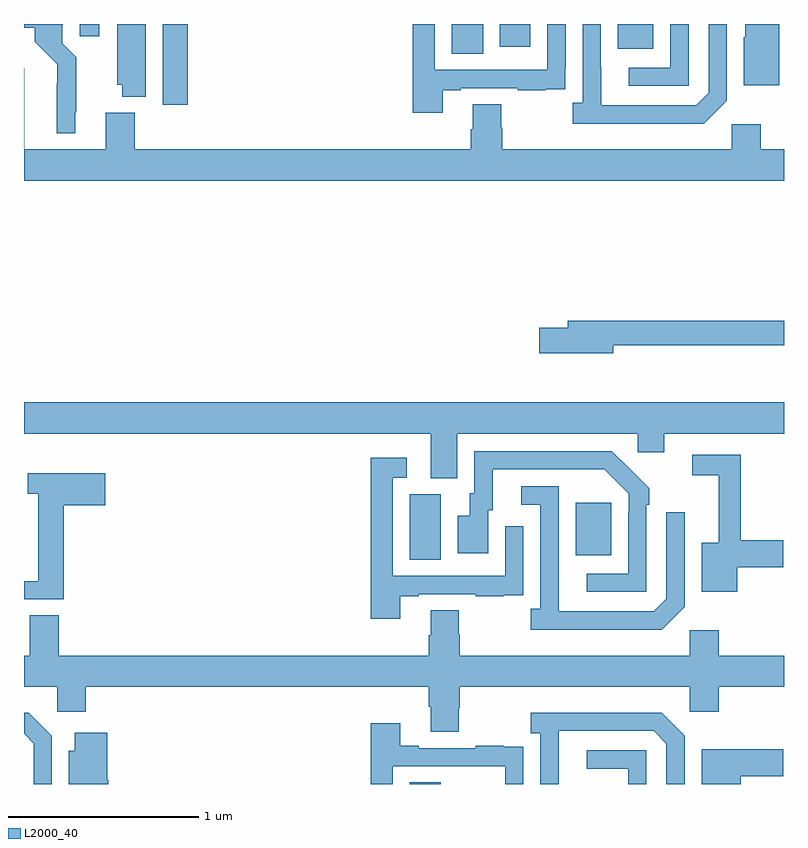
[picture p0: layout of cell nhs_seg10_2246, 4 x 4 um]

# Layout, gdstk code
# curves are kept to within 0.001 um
import gdstk
lib = gdstk.Library(unit=1e-6, precision=1e-09)
def R(c, l, rs):  # rectangles x0, y0, x1, y1
    for r in rs: c.add(gdstk.rectangle(r[:2], r[2:], *l))
def P(c, l, *ps):  # polygons
    for p in ps: c.add(gdstk.Polygon(p, *l))
L2000_40 = (2000, 40)

nhs_seg10_2246 = lib.new_cell('nhs_seg10_2246')
R(nhs_seg10_2246, L2000_40, [(233.03,1270.5,233.194,1270.508), (233.03,1271.68,233.194,1272.024), (233.903,1271.705,234.091,1271.98), (231.731,1274.076,231.863,1274.5), (233.252,1274.344,233.416,1274.5), (234.125,1274.369,234.313,1274.5), (233.504,1274.379,233.665,1274.5), (231.293,1274.436,231.397,1274.5)])
P(nhs_seg10_2246, L2000_40, [(233.203,1274.151),(233.299,1274.151),(233.299,1274.163),(233.599,1274.163),(233.599,1274.151),(233.747,1274.151),(233.747,1274.157),(233.849,1274.157),(233.849,1274.266),(233.85,1274.266),(233.85,1274.5),(233.754,1274.5),(233.754,1274.259),(233.163,1274.259),(233.163,1274.5),(233.047,1274.5),(233.047,1274.034),(233.203,1274.034)],
  [(231.271,1274.035),(231.275,1274.035),(231.275,1274.326),(231.201,1274.4),(231.201,1274.494),(231.205,1274.494),(231.205,1274.5),(231,1274.5),(231,1274.48),(231.056,1274.48),(231.056,1274.406),(231.174,1274.288),(231.173,1273.925),(231.271,1273.925)],
  [(234.498,1274.5),(234.402,1274.5),(234.402,1274.271),(234.183,1274.271),(234.183,1274.175),(234.498,1274.175)],
  [(234.976,1274.5),(234.797,1274.5),(234.797,1274.43),(234.788,1274.43),(234.788,1274.177),(234.976,1274.177)],
  [(234.699,1274.097),(234.699,1274.5),(234.603,1274.5),(234.603,1274.139),(234.537,1274.073),(234.037,1274.073),(234.036,1274.5),(233.94,1274.5),(233.94,1274.086),(233.889,1274.086),(233.889,1273.976),(234.578,1273.976)],
  [(231.64,1274.5),(231.491,1274.5),(231.491,1274.181),(231.518,1274.181),(231.518,1274.117),(231.64,1274.117)],
  [(235,1273.84),(234.878,1273.84),(234.878,1273.972),(234.726,1273.972),(234.726,1273.84),(233.516,1273.84),(233.516,1273.953),(233.511,1273.953),(233.511,1274.078),(233.363,1274.078),(233.363,1273.946),(233.351,1273.946),(233.351,1273.84),(231.584,1273.84),(231.584,1274.032),(231.431,1274.032),(231.431,1273.84),(231.001,1273.84),(231.001,1274.266),(231,1274.266),(231,1273.676),(235,1273.676)],
  [(234.1,1272.81),(235,1272.81),(235,1272.938),(233.861,1272.938),(233.861,1272.902),(233.712,1272.902),(233.712,1272.767),(234.1,1272.767)],
  [(233.281,1272.344),(234.231,1272.344),(234.231,1272.246),(234.37,1272.246),(234.37,1272.344),(235,1272.344),(235,1272.508),(231,1272.508),(231,1272.344),(233.141,1272.344),(233.141,1272.109),(233.281,1272.109)],
  [(234.276,1271.969),(234.291,1271.969),(234.291,1272.057),(234.094,1272.252),(233.37,1272.252),(233.37,1272.03),(233.345,1272.03),(233.345,1271.911),(233.282,1271.911),(233.282,1271.715),(233.443,1271.715),(233.443,1271.94),(233.467,1271.94),(233.467,1272.156),(234.055,1272.156),(234.183,1272.027),(234.183,1271.927),(234.18,1271.927),(234.18,1271.607),(233.961,1271.607),(233.961,1271.511),(234.276,1271.511)],
  [(234.754,1271.641),(234.997,1271.641),(234.997,1271.783),(234.773,1271.783),(234.773,1272.234),(234.516,1272.234),(234.516,1272.126),(234.656,1272.126),(234.656,1271.77),(234.566,1271.77),(234.566,1271.513),(234.754,1271.513)],
  [(232.981,1271.487),(233.077,1271.487),(233.077,1271.499),(233.377,1271.499),(233.377,1271.487),(233.525,1271.487),(233.525,1271.493),(233.627,1271.493),(233.627,1271.602),(233.628,1271.602),(233.628,1271.857),(233.532,1271.857),(233.532,1271.595),(232.941,1271.595),(232.941,1272.111),(233.014,1272.111),(233.014,1272.217),(232.825,1272.217),(232.825,1271.37),(232.981,1271.37)],
  [(231.209,1271.966),(231.427,1271.966),(231.427,1272.135),(231.021,1272.135),(231.021,1272.027),(231.074,1272.027),(231.074,1271.568),(231,1271.568),(231,1271.472),(231.209,1271.472)],
  [(234.477,1271.433),(234.477,1271.929),(234.381,1271.929),(234.381,1271.475),(234.315,1271.409),(233.815,1271.409),(233.814,1272.066),(233.616,1272.066),(233.616,1271.97),(233.718,1271.97),(233.718,1271.422),(233.667,1271.422),(233.667,1271.312),(234.356,1271.312)],
  [(233.289,1270.899),(233.294,1270.899),(233.294,1271.012),(234.504,1271.012),(234.504,1270.881),(234.656,1270.881),(234.656,1271.012),(235,1271.012),(235,1271.176),(234.656,1271.176),(234.656,1271.308),(234.504,1271.308),(234.504,1271.176),(233.294,1271.176),(233.294,1271.289),(233.289,1271.289),(233.289,1271.414),(233.141,1271.414),(233.141,1271.282),(233.129,1271.282),(233.129,1271.176),(231.182,1271.176),(231.182,1271.387),(231.029,1271.387),(231.029,1271.176),(231,1271.176),(231,1271.012),(231.174,1271.012),(231.174,1270.881),(231.326,1270.881),(231.326,1271.012),(233.129,1271.012),(233.129,1270.906),(233.141,1270.906),(233.141,1270.774),(233.289,1270.774)],
  [(233.814,1270.579),(233.815,1270.779),(234.315,1270.779),(234.381,1270.713),(234.381,1270.5),(234.477,1270.5),(234.477,1270.755),(234.356,1270.876),(233.667,1270.876),(233.667,1270.766),(233.718,1270.766),(233.718,1270.5),(233.814,1270.5)],
  [(231.147,1270.755),(231.026,1270.876),(231,1270.876),(231,1270.764),(231.051,1270.713),(231.051,1270.5),(231.147,1270.5)],
  [(232.941,1270.593),(233.532,1270.593),(233.532,1270.5),(233.628,1270.5),(233.628,1270.586),(233.627,1270.586),(233.627,1270.695),(233.525,1270.695),(233.525,1270.702),(233.377,1270.702),(233.377,1270.689),(233.077,1270.689),(233.077,1270.702),(232.981,1270.702),(232.981,1270.819),(232.825,1270.819),(232.825,1270.5),(232.941,1270.5)],
  [(231.443,1270.522),(231.437,1270.522),(231.437,1270.771),(231.266,1270.771),(231.266,1270.675),(231.236,1270.675),(231.236,1270.5),(231.443,1270.5)],
  [(234.773,1270.541),(234.997,1270.541),(234.997,1270.683),(234.566,1270.683),(234.566,1270.5),(234.773,1270.5)],
  [(234.276,1270.677),(233.961,1270.677),(233.961,1270.581),(234.18,1270.581),(234.18,1270.5),(234.276,1270.5)])

lib.write_gds('nhs_seg10_2246.gds')
